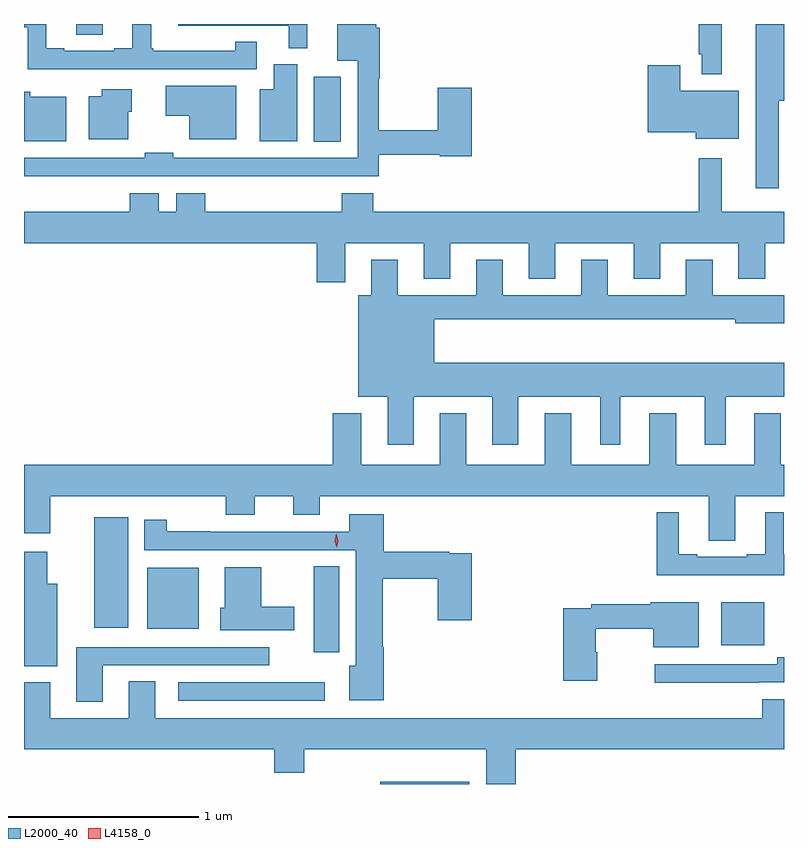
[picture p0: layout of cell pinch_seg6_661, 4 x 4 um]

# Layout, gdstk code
import gdstk
lib = gdstk.Library(unit=1e-6, precision=1e-09)
def R(c, l, rs):  # rectangles x0, y0, x1, y1
    for r in rs: c.add(gdstk.rectangle(r[:2], r[2:], *l))
def P(c, l, *ps):  # polygons
    for p in ps: c.add(gdstk.Polygon(p, *l))
L2000_40 = (2000, 40)
L4158_0 = (4158, 0)

pinch_seg6_661 = lib.new_cell('pinch_seg6_661')
R(pinch_seg6_661, L2000_40, [(456.963,917.849,457.432,917.86), (455.901,918.288,456.673,918.384), (456.614,918.543,456.748,918.995), (458.759,918.578,458.986,918.805), (455.738,918.665,456.01,918.988), (455.459,918.671,455.638,919.252), (456.614,921.229,456.757,921.571), (455.363,921.793,455.503,921.849)])
P(pinch_seg6_661, L2000_40, [(459.061,921.446),(459.089,921.446),(459.089,921.849),(458.939,921.849),(458.939,920.985),(459.061,920.985)],
  [(455.624,921.048),(456.127,921.048),(456.127,921.047),(456.677,921.047),(456.677,921.048),(456.955,921.048),(456.955,921.162),(457.278,921.162),(457.278,921.154),(457.445,921.154),(457.445,921.514),(457.267,921.514),(457.267,921.29),(456.955,921.29),(456.955,921.56),(456.962,921.56),(456.962,921.83),(456.943,921.83),(456.943,921.849),(456.737,921.849),(456.737,921.656),(456.846,921.656),(456.846,921.144),(455.874,921.144),(455.874,921.172),(455.724,921.172),(455.724,921.144),(455.089,921.144),(455.089,921.047),(455.624,921.047)],
  [(456.58,921.849),(455.901,921.849),(455.901,921.84),(456.482,921.84),(456.482,921.721),(456.58,921.721)],
  [(455.402,921.612),(456.313,921.612),(456.313,921.755),(456.2,921.755),(456.2,921.709),(455.77,921.709),(455.77,921.721),(455.758,921.721),(455.758,921.849),(455.66,921.849),(455.66,921.721),(455.564,921.721),(455.564,921.708),(455.302,921.708),(455.302,921.721),(455.206,921.721),(455.206,921.849),(455.089,921.849),(455.089,921.833),(455.109,921.833),(455.109,921.611),(455.402,921.611)],
  [(458.761,921.849),(458.64,921.849),(458.64,921.691),(458.657,921.691),(458.657,921.584),(458.761,921.584)],
  [(456.526,921.636),(456.404,921.636),(456.404,921.505),(456.329,921.505),(456.329,921.233),(456.526,921.233)],
  [(458.851,921.499),(458.542,921.499),(458.542,921.631),(458.372,921.631),(458.372,921.278),(458.624,921.278),(458.624,921.245),(458.851,921.245)],
  [(456.205,921.523),(455.835,921.523),(455.835,921.365),(455.96,921.365),(455.96,921.242),(456.205,921.242)],
  [(455.638,921.387),(455.656,921.387),(455.656,921.505),(455.498,921.505),(455.498,921.469),(455.429,921.469),(455.429,921.242),(455.638,921.242)],
  [(455.311,921.465),(455.121,921.465),(455.121,921.493),(455.089,921.493),(455.089,921.233),(455.311,921.233)],
  [(456.781,920.696),(457.193,920.696),(457.193,920.507),(457.333,920.507),(457.333,920.696),(457.745,920.696),(457.745,920.507),(457.885,920.507),(457.885,920.696),(458.297,920.696),(458.297,920.507),(458.437,920.507),(458.437,920.696),(458.849,920.696),(458.849,920.507),(458.989,920.507),(458.989,920.696),(459.089,920.696),(459.089,920.86),(458.761,920.86),(458.761,921.142),(458.64,921.142),(458.64,920.86),(456.926,920.86),(456.926,920.959),(456.761,920.959),(456.761,920.86),(456.044,920.86),(456.044,920.959),(455.891,920.959),(455.891,920.86),(455.797,920.86),(455.797,920.959),(455.645,920.959),(455.645,920.86),(455.089,920.86),(455.089,920.696),(456.629,920.696),(456.629,920.49),(456.781,920.49)],
  [(457.141,919.886),(457.553,919.886),(457.553,919.635),(457.69,919.635),(457.69,919.886),(458.123,919.886),(458.123,919.635),(458.227,919.635),(458.227,919.886),(458.672,919.886),(458.672,919.635),(458.782,919.635),(458.782,919.886),(459.089,919.886),(459.089,920.065),(457.249,920.065),(457.249,920.294),(458.832,920.294),(458.832,920.273),(459.089,920.273),(459.089,920.422),(458.713,920.422),(458.713,920.608),(458.573,920.608),(458.573,920.422),(458.161,920.422),(458.161,920.608),(458.021,920.608),(458.021,920.422),(457.609,920.422),(457.609,920.608),(457.469,920.608),(457.469,920.422),(457.057,920.422),(457.057,920.608),(456.917,920.608),(456.917,920.422),(456.848,920.422),(456.848,919.886),(457.004,919.886),(457.004,919.635),(457.141,919.635)],
  [(458.833,919.364),(459.089,919.364),(459.089,919.528),(459.073,919.528),(459.073,919.801),(458.933,919.801),(458.933,919.528),(458.521,919.528),(458.521,919.801),(458.381,919.801),(458.381,919.528),(457.969,919.528),(457.969,919.801),(457.829,919.801),(457.829,919.528),(457.417,919.528),(457.417,919.801),(457.277,919.801),(457.277,919.528),(456.865,919.528),(456.865,919.801),(456.713,919.801),(456.713,919.528),(455.089,919.528),(455.089,919.17),(455.227,919.17),(455.227,919.364),(456.152,919.364),(456.152,919.265),(456.304,919.265),(456.304,919.364),(456.506,919.364),(456.506,919.265),(456.646,919.265),(456.646,919.364),(458.693,919.364),(458.693,919.129),(458.833,919.129)],
  [(458.994,918.948),(459.089,918.948),(459.089,919.057),(459.088,919.057),(459.088,919.279),(458.99,919.279),(458.99,919.057),(458.894,919.057),(458.894,919.044),(458.632,919.044),(458.632,919.057),(458.536,919.057),(458.536,919.279),(458.419,919.279),(458.419,918.947),(458.994,918.947)],
  [(456.983,918.568),(456.978,918.568),(456.978,918.929),(457.267,918.929),(457.267,918.711),(457.445,918.711),(457.445,919.063),(457.328,919.063),(457.328,919.071),(456.983,919.071),(456.983,919.27),(456.8,919.27),(456.8,919.176),(456.068,919.176),(456.068,919.178),(455.841,919.178),(455.841,919.24),(455.723,919.24),(455.723,919.08),(456.836,919.08),(456.836,918.472),(456.8,918.472),(456.8,918.29),(456.983,918.29)],
  [(455.263,918.904),(455.212,918.904),(455.212,919.072),(455.089,919.072),(455.089,918.47),(455.263,918.47)],
  [(456.511,918.781),(456.337,918.781),(456.337,918.991),(456.146,918.991),(456.146,918.777),(456.122,918.777),(456.122,918.659),(456.511,918.659)],
  [(458.106,918.543),(458.098,918.543),(458.098,918.666),(458.402,918.666),(458.402,918.569),(458.641,918.569),(458.641,918.805),(458.388,918.805),(458.388,918.794),(458.074,918.794),(458.074,918.774),(457.928,918.774),(457.928,918.393),(458.106,918.393)],
  [(455.503,918.474),(456.379,918.474),(456.379,918.57),(455.363,918.57),(455.363,918.282),(455.503,918.282)],
  [(458.954,918.384),(459.089,918.384),(459.089,918.516),(459.054,918.516),(459.054,918.48),(458.409,918.48),(458.409,918.383),(458.954,918.383)],
  [(457.676,918.032),(459.089,918.032),(459.089,918.295),(458.975,918.295),(458.975,918.196),(455.779,918.196),(455.779,918.389),(455.639,918.389),(455.639,918.196),(455.227,918.196),(455.227,918.385),(455.089,918.385),(455.089,918.032),(456.407,918.032),(456.407,917.908),(456.563,917.908),(456.563,918.032),(457.523,918.032),(457.523,917.849),(457.676,917.849)])
P(pinch_seg6_661, L4158_0, [(456.735,919.093),(456.735,919.094),(456.724,919.129),(456.733,919.165),(456.733,919.165),(456.733,919.165),(456.744,919.13),(456.736,919.094)])

lib.write_gds('pinch_seg6_661.gds')
